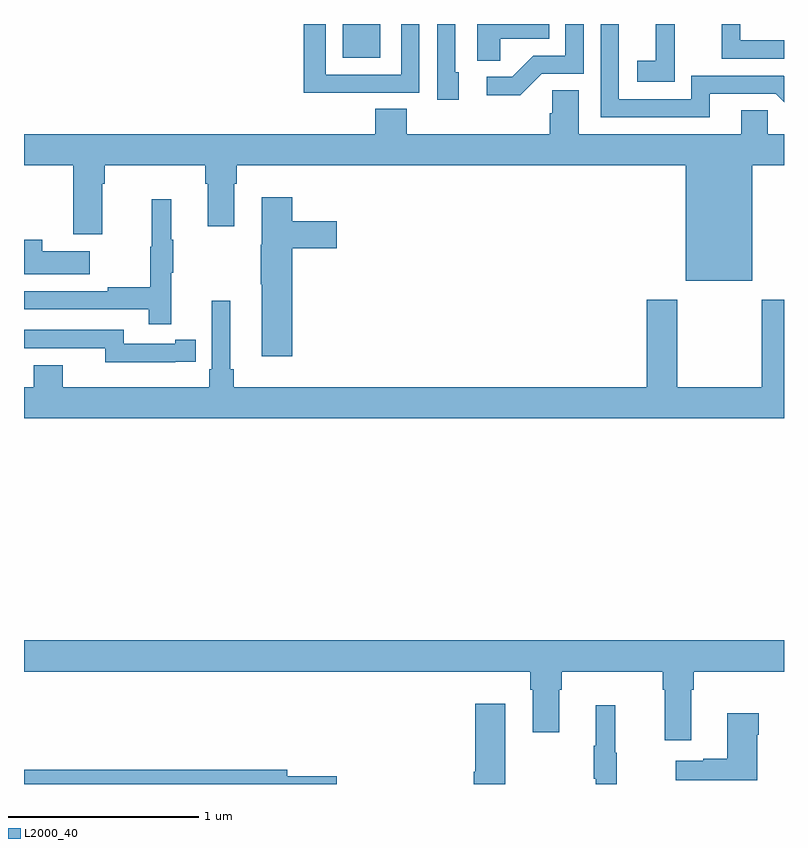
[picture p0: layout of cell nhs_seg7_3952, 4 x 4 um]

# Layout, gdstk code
import gdstk
lib = gdstk.Library(unit=1e-6, precision=1e-09)
def R(c, l, rs):  # rectangles x0, y0, x1, y1
    for r in rs: c.add(gdstk.rectangle(r[:2], r[2:], *l))
def P(c, l, *ps):  # polygons
    for p in ps: c.add(gdstk.Polygon(p, *l))
L2000_40 = (2000, 40)

nhs_seg7_3952 = lib.new_cell('nhs_seg7_3952')
R(nhs_seg7_3952, L2000_40, [(362.678,1027.823,362.875,1028)])
P(nhs_seg7_3952, L2000_40, [(365,1027.914),(364.77,1027.914),(364.77,1028),(364.672,1028),(364.672,1027.818),(365,1027.818)],
  [(363.289,1027.746),(363.27,1027.746),(363.27,1028),(363.174,1028),(363.174,1027.602),(363.289,1027.602)],
  [(363.507,1027.922),(363.764,1027.922),(363.764,1028),(363.386,1028),(363.386,1027.807),(363.507,1027.807)],
  [(364.609,1027.632),(364.956,1027.632),(365,1027.588),(365,1027.726),(364.998,1027.728),(364.512,1027.728),(364.512,1027.605),(364.131,1027.605),(364.131,1028),(364.035,1028),(364.035,1027.509),(364.609,1027.509)],
  [(364.425,1027.903),(364.424,1027.903),(364.424,1028),(364.325,1028),(364.325,1027.807),(364.227,1027.807),(364.227,1027.697),(364.425,1027.697)],
  [(362.765,1027.638),(363.081,1027.638),(363.081,1028),(362.985,1028),(362.985,1027.734),(362.589,1027.734),(362.589,1028),(362.473,1028),(362.473,1027.637),(362.765,1027.637)],
  [(363.726,1027.737),(363.945,1027.737),(363.945,1028),(363.849,1028),(363.849,1027.833),(363.68,1027.833),(363.569,1027.722),(363.435,1027.722),(363.435,1027.625),(363.613,1027.625)],
  [(364.834,1027.256),(365,1027.256),(365,1027.42),(364.914,1027.42),(364.914,1027.547),(364.775,1027.547),(364.775,1027.42),(363.919,1027.42),(363.919,1027.652),(363.78,1027.652),(363.78,1027.529),(363.767,1027.529),(363.767,1027.42),(363.014,1027.42),(363.014,1027.553),(362.849,1027.553),(362.849,1027.42),(361,1027.42),(361,1027.256),(361.259,1027.256),(361.259,1026.894),(361.411,1026.894),(361.411,1027.16),(361.424,1027.16),(361.424,1027.256),(361.955,1027.256),(361.955,1027.16),(361.967,1027.16),(361.967,1026.936),(362.107,1026.936),(362.107,1027.16),(362.12,1027.16),(362.12,1027.256),(364.484,1027.256),(364.484,1026.65),(364.834,1026.65)],
  [(362.411,1026.821),(362.647,1026.821),(362.647,1026.963),(362.411,1026.963),(362.411,1027.087),(362.252,1027.087),(362.252,1026.837),(362.245,1026.837),(362.245,1026.631),(362.252,1026.631),(362.252,1026.252),(362.411,1026.252)],
  [(361.775,1026.691),(361.786,1026.691),(361.786,1026.865),(361.775,1026.865),(361.775,1027.078),(361.672,1027.078),(361.672,1026.828),(361.665,1026.828),(361.665,1026.614),(361.441,1026.614),(361.441,1026.594),(361,1026.594),(361,1026.498),(361.657,1026.498),(361.657,1026.42),(361.775,1026.42)],
  [(361.345,1026.805),(361.097,1026.805),(361.097,1026.865),(361,1026.865),(361,1026.683),(361.345,1026.683)],
  [(365,1026.55),(364.882,1026.55),(364.882,1026.088),(364.437,1026.088),(364.437,1026.55),(364.277,1026.55),(364.277,1026.088),(362.105,1026.088),(362.105,1026.184),(362.086,1026.184),(362.086,1026.544),(361.989,1026.544),(361.989,1026.184),(361.976,1026.184),(361.976,1026.088),(361.204,1026.088),(361.204,1026.205),(361.052,1026.205),(361.052,1026.088),(361,1026.088),(361,1025.924),(365,1025.924)],
  [(361.796,1026.222),(361.904,1026.222),(361.904,1026.338),(361.796,1026.338),(361.796,1026.318),(361.524,1026.318),(361.524,1026.39),(361,1026.39),(361,1026.294),(361.428,1026.294),(361.428,1026.221),(361.796,1026.221)],
  [(364.513,1024.496),(364.526,1024.496),(364.526,1024.592),(365,1024.592),(365,1024.756),(361,1024.756),(361,1024.592),(363.665,1024.592),(363.665,1024.496),(363.677,1024.496),(363.677,1024.272),(363.817,1024.272),(363.817,1024.496),(363.83,1024.496),(363.83,1024.592),(364.361,1024.592),(364.361,1024.496),(364.373,1024.496),(364.373,1024.23),(364.513,1024.23)],
  [(363.532,1024.423),(363.374,1024.423),(363.374,1024.065),(363.368,1024.065),(363.368,1024),(363.532,1024)],
  [(364.12,1024.164),(364.112,1024.164),(364.112,1024.414),(364.01,1024.414),(364.01,1024.201),(363.999,1024.201),(363.999,1024.027),(364.01,1024.027),(364.01,1024),(364.12,1024)],
  [(364.858,1024.259),(364.866,1024.259),(364.866,1024.372),(364.7,1024.372),(364.7,1024.133),(364.574,1024.133),(364.574,1024.123),(364.431,1024.123),(364.431,1024.019),(364.858,1024.019)],
  [(362.647,1024.04),(362.386,1024.04),(362.386,1024.076),(361,1024.076),(361,1024),(362.647,1024)])

lib.write_gds('nhs_seg7_3952.gds')
